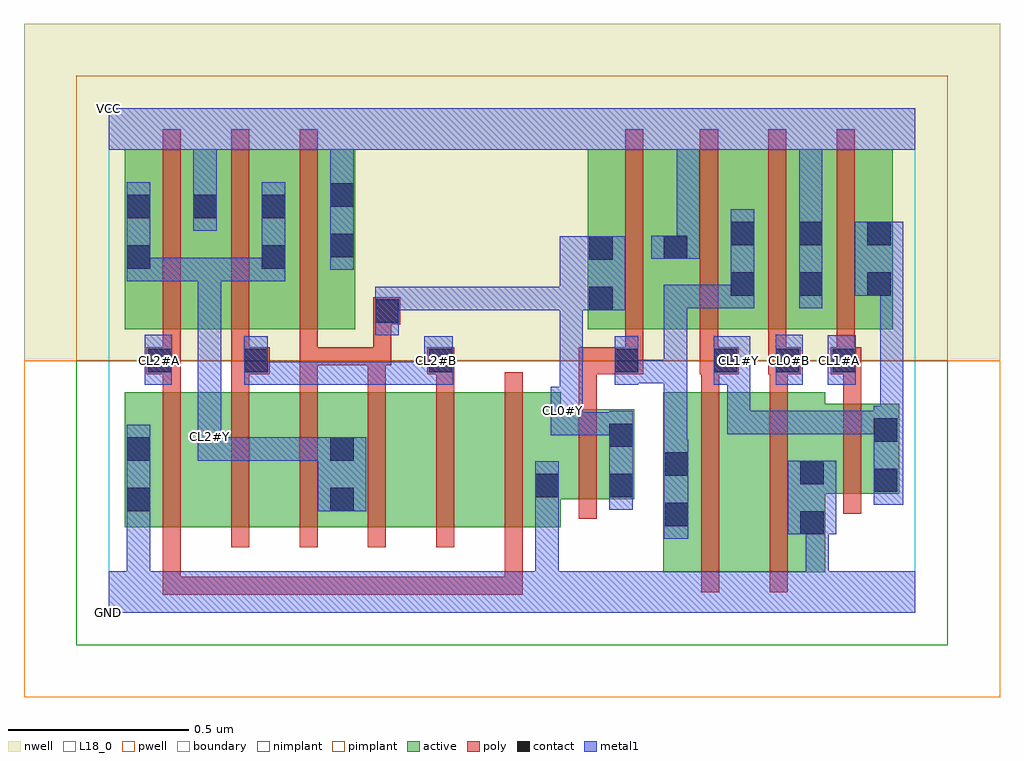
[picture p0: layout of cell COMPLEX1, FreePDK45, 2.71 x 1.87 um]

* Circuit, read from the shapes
.subckt COMPLEX1 CL0#B CL0#Y CL1#A CL1#Y CL2#A CL2#B CL2#Y GND VCC
M1 n1 CL2#A GND VSUBS nfet w=0.375u l=0.05u
M2 n2 CL2#B n1 VSUBS nfet w=0.375u l=0.05u
M3 CL2#Y CL0#Y n2 VSUBS nfet w=0.375u l=0.05u
M4 n3 CL0#Y CL2#Y VSUBS nfet w=0.375u l=0.05u
M5 n4 CL2#B n3 VSUBS nfet w=0.375u l=0.05u
M6 GND CL2#A n4 VSUBS nfet w=0.375u l=0.05u
M7 CL0#Y n5 GND VSUBS nfet w=0.25u l=0.05u
M8 n6 CL1#Y n5 VSUBS nfet w=0.5u l=0.05u
M9 GND CL0#B n6 VSUBS nfet w=0.5u l=0.05u
M10 CL1#Y CL1#A GND VSUBS nfet w=0.25u l=0.05u
M11 VCC CL2#A CL2#Y n7 pfet w=0.5u l=0.05u
M12 CL2#Y CL2#B VCC n7 pfet w=0.5u l=0.05u
M13 VCC CL0#Y CL2#Y n7 pfet w=0.5u l=0.05u
M14 VCC n5 CL0#Y n7 pfet w=0.5u l=0.05u
M15 n5 CL1#Y VCC n7 pfet w=0.5u l=0.05u
M16 VCC CL0#B n5 n7 pfet w=0.5u l=0.05u
M17 CL1#Y CL1#A VCC n7 pfet w=0.5u l=0.05u
.ends

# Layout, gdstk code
import gdstk
lib = gdstk.Library(unit=1e-6, precision=1e-09)
def R(c, l, rs):  # rectangles x0, y0, x1, y1
    for r in rs: c.add(gdstk.rectangle(r[:2], r[2:], *l))
def A(c, l, x, y, w, h, nx, ny, dx, dy):  # array of equal rectangles
    R(c, l, [(x+i*dx, y+j*dy, x+i*dx+w, y+j*dy+h) for i in range(nx) for j in range(ny)])
active = (1, 0)
pwell = (2, 0)
nwell = (3, 0)
nimplant = (4, 0)
pimplant = (5, 0)
poly = (9, 0)
contact = (10, 0)
metal1 = (11, 0)
L18_0 = (18, 0)
boundary = (235, 0)

complex1 = lib.new_cell('COMPLEX1')
R(complex1, active, [(1.54,0.112,1.765,0.612), (1.765,0.112,1.99,0.612), (1.54,0.145,1.645,0.612), (1.915,0.212,1.99,0.462), (0.045,0.237,0.27,0.612), (0.045,0.237,0.12,0.612), (0.27,0.237,0.46,0.612), (0.46,0.237,0.685,0.612), (0.61,0.237,0.84,0.612), (0.61,0.237,0.685,0.612), (0.84,0.237,1.03,0.612), (1.03,0.237,1.255,0.612), (1.18,0.237,1.255,0.497), (1.18,0.315,1.46,0.565), (1.385,0.315,1.46,0.565), (1.915,0.33,2.195,0.58), (2.12,0.33,2.195,0.58), (0.045,0.787,0.12,1.2), (0.045,0.787,0.305,1.287), (0.23,0.787,0.495,1.287), (0.42,0.787,0.685,1.287), (0.61,0.787,0.685,1.255), (1.33,0.787,1.405,1.2), (1.33,0.787,1.612,1.287), (1.537,0.787,1.797,1.287), (1.722,0.787,1.987,1.287), (1.912,0.787,2.177,1.287), (2.102,0.787,2.177,1.2), (0.23,0.807,0.305,1.267), (0.42,0.807,0.495,1.2), (1.537,0.807,1.612,1.255), (1.722,0.807,1.797,1.2), (1.912,0.807,1.987,1.267)])
R(complex1, pwell, [(-0.235,-0.235,2.475,0.7)])
R(complex1, nwell, [(-0.235,0.7,2.475,1.635)])
R(complex1, nimplant, [(-0.09,-0.09,2.33,0.7)])
R(complex1, pimplant, [(-0.09,0.7,2.33,1.49)])
A(complex1, poly, 0.15, 0.182, 0.05, 0.485, 6, 1, 0.19, 0)
A(complex1, poly, 0.15, 0.687, 0.05, 0.095, 3, 1, 0.19, 0)
A(complex1, poly, 1.642, 0.687, 0.05, 0.095, 3, 1, 0.19, 0)
A(complex1, poly, 0.15, 0.732, 0.05, 0.61, 3, 1, 0.19, 0)
A(complex1, poly, 1.642, 0.732, 0.05, 0.61, 3, 1, 0.19, 0)
R(complex1, poly, [(0.15,0.05,0.2,0.232), (0.15,0.05,0.2,0.1), (0.15,0.05,0.2,0.1), (0.15,0.05,0.2,0.1), (0.15,0.05,0.447,0.1), (0.397,0.05,0.447,0.1), (0.397,0.05,0.447,0.1), (0.397,0.05,0.447,0.1), (0.397,0.05,0.58,0.1), (0.53,0.05,0.58,0.1), (0.53,0.05,0.58,0.1), (0.53,0.05,0.58,0.1), (0.53,0.05,0.802,0.1), (0.752,0.05,0.802,0.1), (0.752,0.05,0.935,0.1), (0.885,0.05,0.935,0.1), (0.885,0.05,0.935,0.1), (0.885,0.05,0.935,0.1), (0.885,0.05,1.15,0.1), (1.1,0.05,1.15,0.232), (1.1,0.05,1.15,0.1), (1.1,0.05,1.15,0.1), (1.1,0.05,1.15,0.1), (1.645,0.057,1.695,0.667), (1.835,0.057,1.885,0.667), (1.305,0.26,1.355,0.62), (2.04,0.275,2.09,0.635), (1.305,0.57,1.355,0.712), (2.04,0.585,2.09,0.712), (0.15,0.617,0.2,0.712), (0.34,0.617,0.39,0.712), (0.53,0.617,0.58,0.737), (0.72,0.617,0.77,0.737), (0.91,0.617,0.96,0.712), (1.645,0.617,1.695,0.712), (1.835,0.617,1.885,0.712), (0.105,0.662,0.2,0.737), (0.34,0.662,0.447,0.737), (0.885,0.662,0.96,0.737), (1.305,0.662,1.485,0.737), (1.642,0.662,1.75,0.737), (1.832,0.662,1.922,0.737), (2.005,0.662,2.09,0.737), (0.53,0.687,0.58,0.737), (0.53,0.687,0.58,0.737), (0.53,0.687,0.58,0.737), (0.53,0.687,0.77,0.737), (0.72,0.687,0.785,0.737), (0.735,0.687,0.785,0.85), (1.435,0.687,1.485,0.782), (1.435,0.732,1.485,1.342), (0.735,0.8,0.785,0.85), (0.735,0.8,0.785,0.85), (0.735,0.8,0.81,0.875)])
A(complex1, contact, 1.727, 0.88, 0.065, 0.065, 3, 2, 0.19, 0.14)
R(complex1, contact, [(1.92,0.217,1.985,0.282), (1.545,0.24,1.61,0.305), (0.05,0.282,0.115,0.347), (0.615,0.282,0.68,0.347), (1.185,0.32,1.25,0.385), (1.39,0.32,1.455,0.385), (2.125,0.335,2.19,0.4), (1.92,0.357,1.985,0.422), (1.545,0.38,1.61,0.445), (0.05,0.422,0.115,0.487), (0.615,0.422,0.68,0.487), (1.39,0.46,1.455,0.525), (2.125,0.475,2.19,0.54), (0.11,0.667,0.175,0.732), (0.377,0.667,0.442,0.732), (0.89,0.667,0.955,0.732), (1.405,0.667,1.47,0.732), (1.68,0.667,1.745,0.732), (1.852,0.667,1.917,0.732), (2.01,0.667,2.075,0.732), (0.74,0.805,0.805,0.87), (1.335,0.84,1.4,0.905), (0.05,0.955,0.115,1.02), (0.425,0.955,0.49,1.02), (1.335,0.98,1.4,1.045), (1.542,0.982,1.607,1.047), (0.615,0.987,0.68,1.052), (0.05,1.095,0.115,1.16), (0.235,1.095,0.3,1.16), (0.425,1.095,0.49,1.16), (0.615,1.127,0.68,1.192)])
R(complex1, metal1, [(0,0,2.24,0.115), (0.05,0.05,0.115,0.115), (0.05,0.05,0.115,0.115), (0.05,0.05,0.115,0.115), (0.05,0.05,0.115,0.115), (0.05,0.05,0.115,0.312), (1.185,0.05,1.25,0.115), (1.185,0.05,1.25,0.115), (1.185,0.05,1.25,0.35), (1.935,0.05,2,0.115), (1.935,0.05,2,0.115), (1.935,0.05,2,0.282), (1.542,0.205,1.61,0.48), (1.885,0.217,2.02,0.422), (0.05,0.247,0.115,0.522), (0.58,0.282,0.715,0.487), (1.185,0.285,1.25,0.35), (1.185,0.285,1.25,0.35), (1.185,0.285,1.25,0.42), (1.39,0.285,1.455,0.56), (2.125,0.3,2.207,0.575), (1.542,0.415,1.607,0.702), (0.247,0.422,0.312,0.487), (0.247,0.422,0.312,0.487), (0.247,0.422,0.312,0.557), (0.247,0.422,0.45,0.487), (0.385,0.422,0.45,0.487), (0.385,0.422,0.45,0.487), (0.385,0.422,0.45,0.487), (0.385,0.422,0.645,0.487), (0.58,0.422,0.645,0.487), (0.58,0.422,0.645,0.487), (0.247,0.492,0.312,0.985), (1.227,0.492,1.317,0.627), (1.252,0.492,1.317,0.557), (1.252,0.492,1.317,0.557), (1.252,0.492,1.455,0.557), (1.39,0.492,1.455,0.557), (1.39,0.492,1.455,0.557), (1.717,0.495,1.782,0.56), (1.717,0.495,1.925,0.56), (1.717,0.495,1.782,0.697), (1.86,0.495,1.925,0.56), (1.86,0.495,1.925,0.56), (1.86,0.495,1.925,0.56), (1.86,0.495,2.19,0.56), (2.125,0.495,2.19,0.56), (2.125,0.495,2.19,0.56), (2.142,0.51,2.207,0.945), (1.252,0.562,1.317,0.905), (0.1,0.632,0.175,0.772), (0.377,0.632,0.442,0.767), (0.377,0.632,0.507,0.697), (0.442,0.632,0.507,0.697), (0.442,0.632,0.645,0.697), (0.58,0.632,0.645,0.697), (0.58,0.632,0.645,0.697), (0.58,0.632,0.645,0.697), (0.58,0.632,0.805,0.697), (0.74,0.632,0.805,0.697), (0.74,0.632,0.942,0.697), (0.877,0.632,0.942,0.697), (0.877,0.632,0.942,0.697), (0.877,0.632,0.955,0.767), (1.405,0.632,1.47,0.767), (1.68,0.632,1.782,0.767), (1.717,0.632,1.782,0.697), (1.717,0.632,1.782,0.697), (1.852,0.632,1.927,0.772), (1.997,0.632,2.075,0.77), (1.405,0.637,1.47,0.702), (1.405,0.637,1.47,0.702), (1.405,0.637,1.607,0.702), (1.542,0.637,1.607,0.702), (1.542,0.637,1.607,0.91), (0.74,0.77,0.805,0.905), (0.74,0.84,0.805,0.905), (0.74,0.84,0.805,0.905), (0.74,0.84,0.805,0.905), (0.74,0.84,0.805,0.905), (0.74,0.84,1.08,0.905), (1.015,0.84,1.08,0.905), (1.015,0.84,1.08,0.905), (1.015,0.84,1.08,0.905), (1.015,0.84,1.317,0.905), (1.252,0.84,1.317,0.905), (1.252,0.84,1.317,0.905), (1.252,0.84,1.435,1.045), (1.542,0.845,1.607,0.91), (1.542,0.845,1.607,0.91), (1.542,0.845,1.607,0.91), (1.542,0.845,1.792,0.91), (1.727,0.845,1.792,1.12), (1.917,0.845,1.982,1.12), (2.072,0.88,2.207,1.085), (2.142,0.88,2.207,0.945), (2.142,0.88,2.207,0.945), (0.05,0.92,0.115,0.985), (0.05,0.92,0.115,0.985), (0.05,0.92,0.115,1.195), (0.05,0.92,0.312,0.985), (0.247,0.92,0.312,0.985), (0.247,0.92,0.49,0.985), (0.425,0.92,0.49,0.985), (0.425,0.92,0.49,0.985), (0.425,0.92,0.49,1.195), (0.615,0.952,0.68,1.227), (1.507,0.982,1.642,1.047), (1.577,0.982,1.642,1.35), (1.917,1.055,1.982,1.35), (0.235,1.06,0.3,1.195), (0.235,1.13,0.3,1.35), (0.615,1.162,0.68,1.35), (0,1.285,2.24,1.4)])
A(complex1, L18_0, 1.717, 0.667, 0.065, 0.065, 3, 1, 0.14, 0)
R(complex1, L18_0, [(0,0,2.24,0.115), (0.05,0.05,0.115,0.115), (0.05,0.05,0.115,0.115), (0.05,0.05,0.115,0.115), (0.05,0.05,0.115,0.115), (0.05,0.05,0.115,0.312), (1.185,0.05,1.25,0.115), (1.185,0.05,1.25,0.115), (1.185,0.05,1.25,0.35), (1.935,0.05,2,0.115), (1.935,0.05,2,0.115), (1.935,0.05,2,0.282), (1.885,0.217,2.02,0.422), (0.05,0.247,0.115,0.522), (0.58,0.282,0.715,0.487), (1.185,0.285,1.25,0.35), (1.185,0.285,1.25,0.35), (1.185,0.285,1.25,0.42), (1.39,0.285,1.455,0.56), (2.125,0.3,2.207,0.575), (0.247,0.422,0.312,0.487), (0.247,0.422,0.312,0.487), (0.247,0.422,0.312,0.557), (0.247,0.422,0.45,0.487), (0.385,0.422,0.45,0.487), (0.385,0.422,0.45,0.487), (0.385,0.422,0.45,0.487), (0.385,0.422,0.645,0.487), (0.58,0.422,0.645,0.487), (0.58,0.422,0.645,0.487), (0.247,0.457,0.312,0.522), (0.247,0.492,0.312,0.985), (1.227,0.492,1.317,0.627), (1.252,0.492,1.317,0.557), (1.252,0.492,1.317,0.557), (1.252,0.492,1.455,0.557), (1.39,0.492,1.455,0.557), (1.39,0.492,1.455,0.557), (1.717,0.495,1.782,0.56), (1.717,0.495,1.782,0.697), (1.717,0.495,1.925,0.56), (1.86,0.495,1.925,0.56), (1.86,0.495,1.925,0.56), (1.86,0.495,1.925,0.56), (1.86,0.495,2.19,0.56), (2.125,0.495,2.19,0.56), (2.125,0.495,2.19,0.56), (2.142,0.51,2.207,0.945), (1.227,0.527,1.292,0.592), (1.252,0.562,1.317,0.905), (0.1,0.632,0.175,0.772), (0.377,0.632,0.442,0.767), (0.377,0.632,0.507,0.697), (0.442,0.632,0.507,0.697), (0.442,0.632,0.645,0.697), (0.58,0.632,0.645,0.697), (0.58,0.632,0.645,0.697), (0.58,0.632,0.645,0.697), (0.58,0.632,0.805,0.697), (0.74,0.632,0.805,0.697), (0.74,0.632,0.942,0.697), (0.877,0.632,0.942,0.697), (0.877,0.632,0.942,0.697), (0.877,0.632,0.955,0.767), (1.68,0.632,1.782,0.767), (1.717,0.632,1.782,0.697), (1.717,0.632,1.782,0.697), (1.852,0.632,1.927,0.772), (1.997,0.632,2.075,0.77), (0.107,0.667,0.172,0.732), (0.877,0.667,0.942,0.732), (0.74,0.77,0.805,0.905), (0.74,0.84,0.805,0.905), (0.74,0.84,0.805,0.905), (0.74,0.84,0.805,0.905), (0.74,0.84,0.805,0.905), (0.74,0.84,1.08,0.905), (1.015,0.84,1.08,0.905), (1.015,0.84,1.08,0.905), (1.015,0.84,1.08,0.905), (1.015,0.84,1.317,0.905), (1.252,0.84,1.317,0.905), (1.252,0.84,1.317,0.905), (1.252,0.84,1.435,1.045), (1.917,0.845,1.982,1.12), (2.072,0.88,2.207,1.085), (2.142,0.88,2.207,0.945), (2.142,0.88,2.207,0.945), (0.05,0.92,0.115,0.985), (0.05,0.92,0.115,0.985), (0.05,0.92,0.115,1.195), (0.05,0.92,0.312,0.985), (0.247,0.92,0.312,0.985), (0.247,0.92,0.49,0.985), (0.425,0.92,0.49,0.985), (0.425,0.92,0.49,0.985), (0.425,0.92,0.49,1.195), (0.615,0.952,0.68,1.227), (1.507,0.982,1.642,1.047), (1.577,0.982,1.642,1.35), (1.917,1.055,1.982,1.35), (0.235,1.06,0.3,1.195), (0.235,1.13,0.3,1.35), (0.615,1.162,0.68,1.35), (0,1.285,2.24,1.4)])
R(complex1, boundary, [(0,0,2.24,1.4)])
complex1.add(gdstk.Label('CL0#B', (1.89,0.7), layer=11, texttype=0))
complex1.add(gdstk.Label('CL0#Y', (1.26,0.56), layer=11, texttype=0))
complex1.add(gdstk.Label('CL1#A', (2.03,0.7), layer=11, texttype=0))
complex1.add(gdstk.Label('CL1#Y', (1.75,0.7), layer=11, texttype=0))
complex1.add(gdstk.Label('CL2#A', (0.14,0.7), layer=11, texttype=0))
complex1.add(gdstk.Label('CL2#B', (0.91,0.7), layer=11, texttype=0))
complex1.add(gdstk.Label('CL2#Y', (0.28,0.49), layer=11, texttype=0))
complex1.add(gdstk.Label('VCC', (0,1.4), layer=11, texttype=0))
complex1.add(gdstk.Label('GND', (0,0), layer=11, texttype=0))

lib.write_gds('COMPLEX1.gds')
